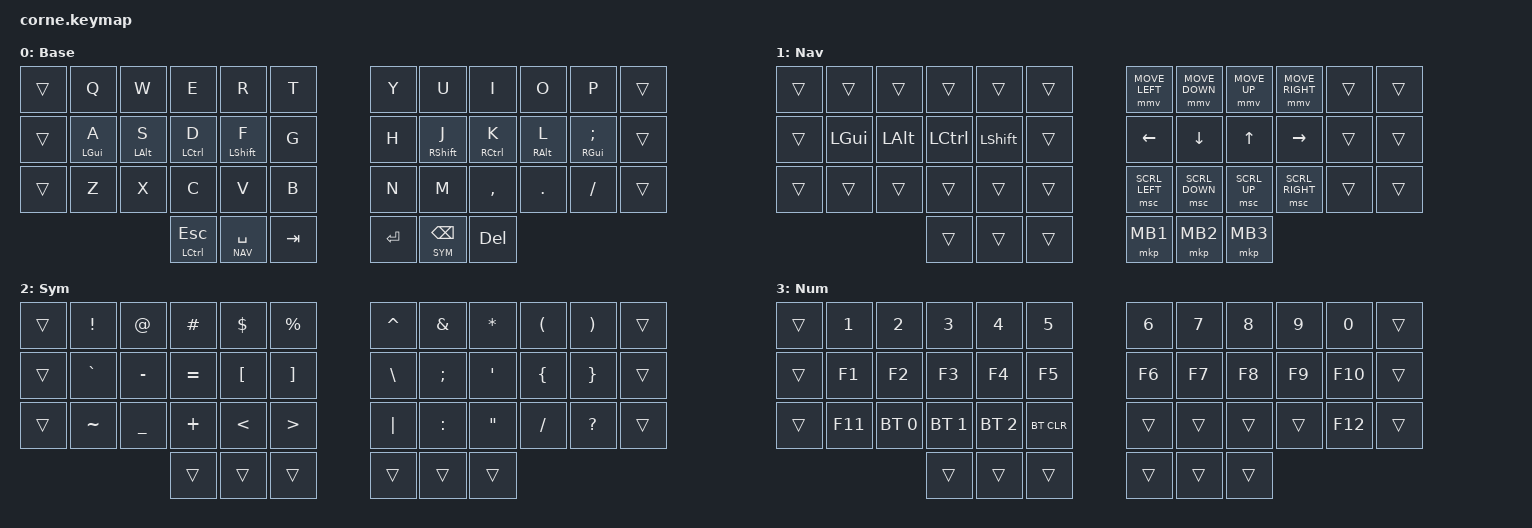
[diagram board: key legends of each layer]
#include <behaviors.dtsi>
#include <dt-bindings/zmk/keys.h>
#include <dt-bindings/zmk/bt.h>
#include <dt-bindings/zmk/mouse.h>

#define BASE 0
#define NAV  1
#define SYM  2
#define NUM  3

/ {
    conditional_layers {
        compatible = "zmk,conditional-layers";
        tri_layer {
            if-layers = <NAV SYM>;
            then-layer = <NUM>;
        };
    };

    behaviors {
        hml: homerow_mods_left {
            compatible = "zmk,behavior-hold-tap";
            label = "HML";
            #binding-cells = <2>;
            tapping-term-ms = <280>;
            quick-tap-ms = <175>;
            require-prior-idle-ms = <150>;
            flavor = "balanced";
            // only trigger as mod when right-hand key follows
            hold-trigger-key-positions = <6 7 8 9 10 18 19 20 21 22 30 31 32 33 34 39 40 41>;
            hold-trigger-on-release;
            bindings = <&kp>, <&kp>;
        };

        hmr: homerow_mods_right {
            compatible = "zmk,behavior-hold-tap";
            label = "HMR";
            #binding-cells = <2>;
            tapping-term-ms = <280>;
            quick-tap-ms = <175>;
            require-prior-idle-ms = <150>;
            flavor = "balanced";
            // only trigger as mod when left-hand key follows
            hold-trigger-key-positions = <1 2 3 4 5 13 14 15 16 17 25 26 27 28 29 36 37 38>;
            hold-trigger-on-release;
            bindings = <&kp>, <&kp>;
        };
    };

    combos {
        compatible = "zmk,combos";
        // J+K → Esc (Neovim insert mode)
        combo_esc {
            timeout-ms = <50>;
            key-positions = <19 20>;
            bindings = <&kp ESC>;
        };
    };

    keymap {
        compatible = "zmk,keymap";

        base_layer {
            label = "Base";
            bindings = <
// ┌───────┬──────────────┬──────────────┬──────────────┬──────────────┬──────────────┐   ┌──────────────┬──────────────┬──────────────┬──────────────┬──────────────┬───────┐
    &trans  &kp Q          &kp W          &kp E          &kp R          &kp T              &kp Y          &kp U          &kp I          &kp O          &kp P          &trans
// ├───────┼──────────────┼──────────────┼──────────────┼──────────────┼──────────────┤   ├──────────────┼──────────────┼──────────────┼──────────────┼──────────────┼───────┤
    &trans  &hml LGUI A    &hml LALT S    &hml LCTRL D   &hml LSHFT F   &kp G              &kp H          &hmr RSHFT J   &hmr RCTRL K   &hmr RALT L    &hmr RGUI SEMI &trans
// ├───────┼──────────────┼──────────────┼──────────────┼──────────────┼──────────────┤   ├──────────────┼──────────────┼──────────────┼──────────────┼──────────────┼───────┤
    &trans  &kp Z          &kp X          &kp C          &kp V          &kp B              &kp N          &kp M          &kp COMMA      &kp DOT        &kp FSLH       &trans
// └───────┴──────────────┴──────────────┼──────────────┼──────────────┼──────────────┤   ├──────────────┼──────────────┼──────────────┴──────────────┴──────────────┴───────┘
//                                        │  Ctrl/Esc   │  NAV/Space  │     Tab      │   │    Enter     │  SYM/Bspc   │     Del      │
                                          &mt LCTRL ESC  &lt NAV SPACE  &kp TAB            &kp ENTER      &lt SYM BSPC   &kp DEL
//                                        └─────────────┴─────────────┴──────────────┘   └──────────────┴─────────────┴──────────────┘
            >;
        };

        nav_layer {
            label = "Nav";
            bindings = <
// ┌───────┬───────┬───────┬───────┬───────┬───────┐   ┌─────────────────┬─────────────────┬─────────────────┬─────────────────┬───────┬───────┐
    &trans  &trans  &trans  &trans  &trans  &trans      &mmv MOVE_LEFT    &mmv MOVE_DOWN    &mmv MOVE_UP      &mmv MOVE_RIGHT   &trans  &trans
// ├───────┼───────┼───────┼───────┼───────┼───────┤   ├─────────────────┼─────────────────┼─────────────────┼─────────────────┼───────┼───────┤
    &trans  &kp LGUI &kp LALT &kp LCTRL &kp LSHFT &trans  &kp LEFT       &kp DOWN          &kp UP            &kp RIGHT         &trans  &trans
// ├───────┼───────┼───────┼───────┼───────┼───────┤   ├─────────────────┼─────────────────┼─────────────────┼─────────────────┼───────┼───────┤
    &trans  &trans  &trans  &trans  &trans  &trans      &msc SCRL_LEFT    &msc SCRL_DOWN    &msc SCRL_UP      &msc SCRL_RIGHT   &trans  &trans
// └───────┴───────┴───────┼───────┼───────┼───────┤   ├─────────────────┼─────────────────┼─────────────────┴─────────────────┴───────┴───────┘
                            &trans  &trans  &trans      &mkp MB1          &mkp MB2          &mkp MB3
//                          └───────┴───────┴───────┘   └─────────────────┴─────────────────┴─────────────────┘
            >;
        };

        sym_layer {
            label = "Sym";
            bindings = <
    &trans  &kp EXCL       &kp AT         &kp HASH       &kp DLLR       &kp PRCNT          &kp CARET      &kp AMPS       &kp STAR       &kp LPAR       &kp RPAR       &trans
    &trans  &kp GRAVE      &kp MINUS      &kp EQUAL      &kp LBKT       &kp RBKT           &kp BSLH       &kp SEMI       &kp SQT        &kp LBRC       &kp RBRC       &trans
    &trans  &kp TILDE      &kp UNDER      &kp PLUS       &kp LT         &kp GT             &kp PIPE       &kp COLON      &kp DQT        &kp FSLH       &kp QMARK      &trans
                                          &trans         &trans         &trans             &trans         &trans         &trans
            >;
        };

        num_layer {
            label = "Num";
            bindings = <
    &trans  &kp N1         &kp N2         &kp N3         &kp N4         &kp N5             &kp N6         &kp N7         &kp N8         &kp N9         &kp N0         &trans
    &trans  &kp F1         &kp F2         &kp F3         &kp F4         &kp F5             &kp F6         &kp F7         &kp F8         &kp F9         &kp F10        &trans
    &trans  &kp F11        &bt BT_SEL 0   &bt BT_SEL 1   &bt BT_SEL 2   &bt BT_CLR         &trans         &trans         &trans         &trans         &kp F12        &trans
                                          &trans         &trans         &trans             &trans         &trans         &trans
            >;
        };
    };
};
